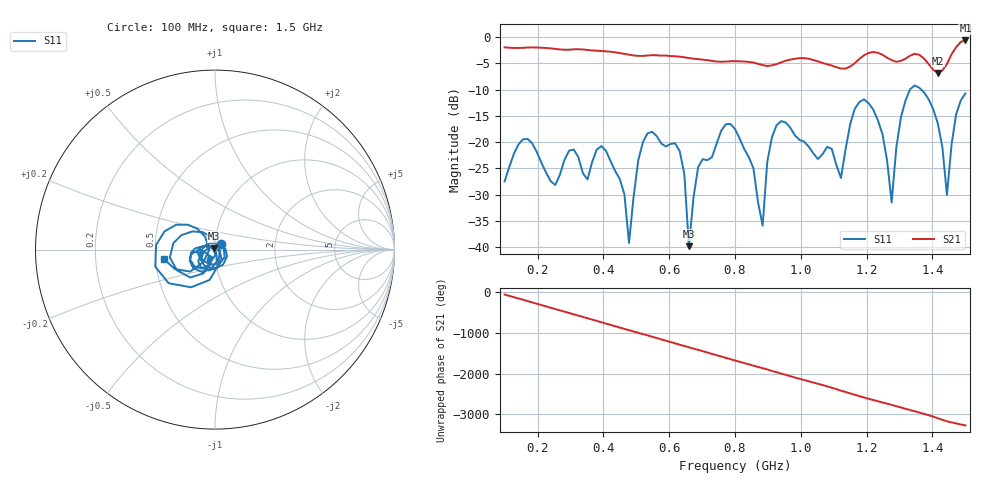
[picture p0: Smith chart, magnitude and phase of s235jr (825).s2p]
! NanoVNA-App
! Date: 2025-09-25 15:10:35
! Start: 100MHz Stop: 1,5GHz Points: 101
! S-Parameter data: F S11 S21 S12 S22
# Hz S RI R 50
!  Frequency  S11_Real  S11_Imag  S21_Real  S21_Imag  S12_Real  S12_Imag  S22_Real  S22_Imag
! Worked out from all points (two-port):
!   101 points, 100 MHz to 1.5 GHz, reference 50 ohm
!   highest |S21| = -0.65 dB at 1.5 GHz (marker M1); lowest = -6.8 dB at 1.416 GHz (marker M2)
!   |S21| within 3 dB of the highest: start of sweep to 614.4 MHz; 1.188 GHz to 1.255 GHz (66.92 MHz wide, 5.48 % of centre) (the widest 2 of 4)
!   lowest |S11| = -39.8 dB at 660 MHz (marker M3), VSWR 1.02, Z = 49.2 + j0.607 ohm
!   |S11| at or under -10 dB: start of sweep to 1.332 GHz; 1.366 GHz to end of sweep
!   S12 and S22 are empty: the file has one direction only
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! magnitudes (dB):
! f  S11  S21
! 100 MHz  -27.5  -2.0
! 156 MHz  -19.5  -2.1
! 338 MHz  -25.9  -2.4
! 408 MHz  -21.6  -2.7
! 478 MHz  -39.2  -3.4
! 520 MHz  -20.0  -3.6
! 576 MHz  -20.3  -3.5
! 632 MHz  -21.7  -3.7
! 660 MHz  -39.8  -4.0
! 688 MHz  -24.7  -4.2
! 800 MHz  -17.5  -4.6
! 884 MHz  -35.9  -5.3
! 926 MHz  -16.8  -5.2
! 1.038 GHz  -22.1  -4.4
! 1.122 GHz  -26.8  -6.0
! 1.192 GHz  -11.9  -3.5
! 1.248 GHz  -18.5  -3.4
! 1.276 GHz  -31.5  -4.4
! 1.332 GHz  -9.9  -3.5
! 1.416 GHz  -16.4  -6.8
! 1.444 GHz  -30.0  -5.1
! 1.5 GHz  -10.7  -0.7
